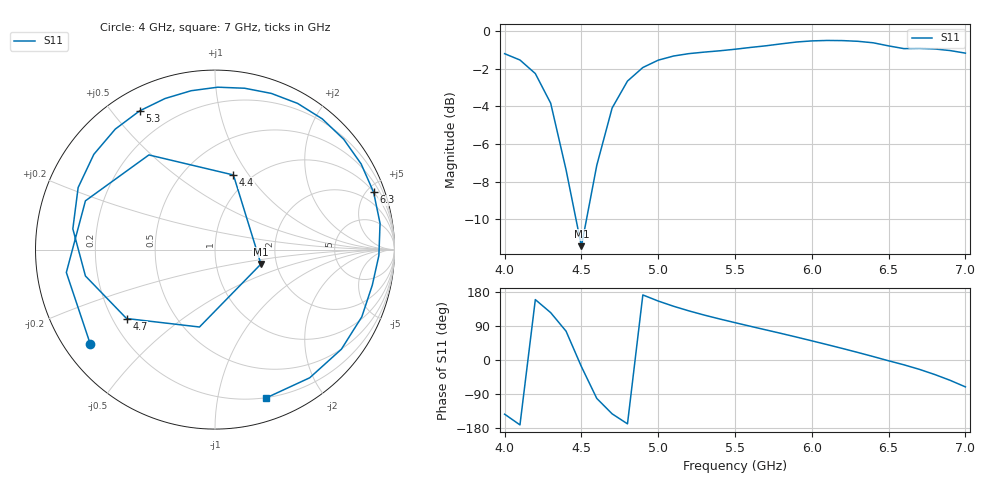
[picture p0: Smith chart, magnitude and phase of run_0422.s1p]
! Touchstone file exported from HFSS 2024.2.0
!  File:  C:/Users/wsak9/Desktop/Sim Fast/Widenad Patch/WP_AI_V1_sweep.aedt
!  Generated:  09:15:59 AM Oct 14, 2026
!  Design:  A1_model
!  Project:  WP_AI_V1_sweep
!  Setup:  Setup1
!  Solution:  Sweep
! Variables:
!  Air_gap = 2.16mm
!  Curve_Amp1 = 1.57
!  Curve_len1 = 1
!  Curve_pos = 13.18mm
!  Extra = 2.91mm
!  H_sub = 0.79mm
!  L_Patch = 22.36mm
!  L_Patch1 = 16.49mm
!  Sx = 2.36mm
!  Sy = 1.56mm
!  WS = 0.4mm
!  W_Patch = 10.28mm
!  W_Patch1 = 13.58mm
!Data is not renormalized
# GHz S MA
! Terminal data exported
! Port[1] = 1
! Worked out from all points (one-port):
!   31 points, 4 GHz to 7 GHz, reference per port
!   lowest |S11| = -11.4 dB at 4.5 GHz (marker M1), VSWR 1.73
!   |S11| at or under -10 dB: 4.465 GHz to 4.533 GHz (68.46 MHz wide, 1.52 % of centre)
!   S11 on the Smith chart (normalised r, x): 4 GHz: 0.08, -0.33; 4.4 GHz: 0.84, +0.85; 4.7 GHz: 0.26, -0.32; 5.3 GHz: 0.09, +0.59; 6.3 GHz: 1.01, +5.52; 7 GHz: 0.20, -1.39
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4  0.8711 -143.0
4.1  0.838 -171.3
4.2  0.7714 159.4
4.3  0.6433 124.9
4.4  0.4282 76.1
4.5  0.2683 -17.5
4.6  0.4398 -101.3
4.7  0.6248 -142.1
4.8  0.7367 -168.5
4.9  0.8004 171.7
5  0.8372 155.6
5.1  0.8588 141.8
5.2  0.8715 129.6
5.3  0.8796 118.5
5.5  0.8951 98.5
5.7  0.9141 79.6
5.8  0.925 70.2
5.9  0.9356 60.5
6  0.942 50.6
6.1  0.9446 40.6
6.2  0.9438 30.4
6.3  0.9397 19.9
6.4  0.9311 9.0
6.5  0.9136 -2.1
6.7  0.8997 -24.6
6.8  0.8966 -38.2
6.9  0.888 -53.5
7  0.8741 -70.9
